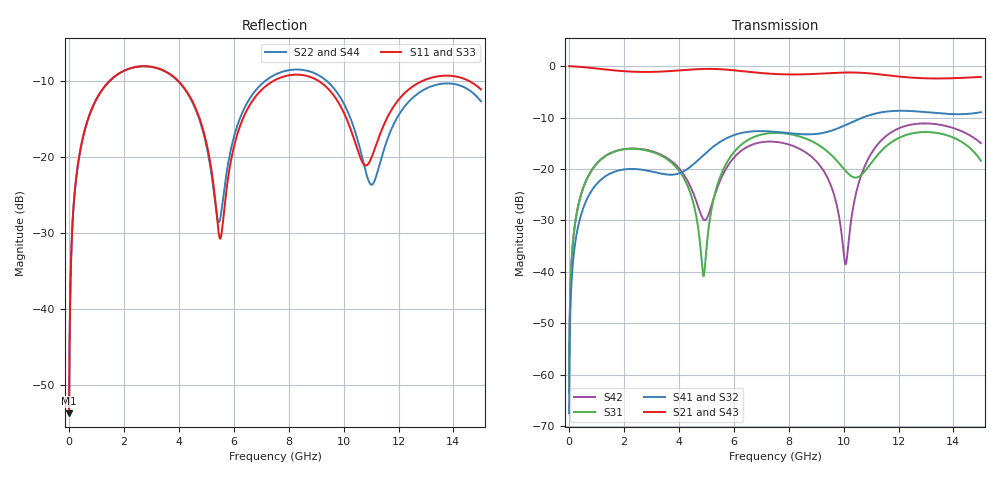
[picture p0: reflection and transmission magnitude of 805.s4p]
! Created with skrf 1.8.0 (http://scikit-rf.org).
# GHz S RI R 50.0
!freq ReS11 ImS11 ReS12 ImS12 ReS13 ImS13
! ReS14 ImS14
! ReS21 ImS21 ReS22 ImS22 ReS23 ImS23
! ReS24 ImS24
! ReS31 ImS31 ReS32 ImS32 ReS33 ImS33
! ReS34 ImS34
! ReS41 ImS41 ReS42 ImS42 ReS43 ImS43
! ReS44 ImS44
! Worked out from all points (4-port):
!   2499 points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, 5 MHz to 15 GHz, reference 50 ohm
!   strongest paths, dB at 5 MHz, 3.476 GHz, 7.19 GHz, 11.1 GHz, 15 GHz:
!     S21: 0.0, -1.0, -1.4, -1.5, -2.1
!     S43: 0.0, -1.0, -1.4, -1.5, -2.1
!     S41: -67.5, -21.0, -12.7, -9.3, -9.0
!     S32: -67.5, -21.0, -12.7, -9.3, -9.0
!     S31: -63.5, -17.8, -13.1, -18.2, -18.4
!     S42: -63.5, -17.6, -14.7, -16.2, -15.0
!   lowest |S11| = -53.7 dB at 5 MHz (marker M1), VSWR 1.00, Z = 50.2 + j0.125 ohm
!   |S11| at or under -10 dB: start of sweep to 1.495 GHz; 3.963 GHz to 7.471 GHz (3.507 GHz wide, 61.3 % of centre); 9.066 GHz to 12.9 GHz (3.839 GHz wide, 34.9 % of centre)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
0.005  0.00164 0.00124  0.9983 -0.00319  8.28e-05 0.000664  -8.03e-05 -0.000414
       0.9983 -0.00319  0.00164 0.00124  -8.03e-05 -0.000414  8.28e-05 0.000664
       8.28e-05 0.000664  -8.03e-05 -0.000414  0.00164 0.00124  0.9983 -0.00319
       -8.03e-05 -0.000414  8.28e-05 0.000664  0.9983 -0.00319  0.00164 0.00124
0.3126303  0.024 0.0818  0.9672 -0.1984  0.0112 0.0394  -0.00932 -0.0243
           0.9672 -0.1984  0.024 0.0818  -0.00932 -0.0243  0.0113 0.0394
           0.0112 0.0394  -0.00932 -0.0243  0.024 0.0818  0.9672 -0.1984
           -0.00932 -0.0243  0.0113 0.0394  0.9672 -0.1984  0.024 0.0818
1.519383  0.2634 0.1804  0.5638 -0.7209  0.1265 0.0655  -0.0904 -0.00863
          0.5638 -0.7209  0.2631 0.1806  -0.0903 -0.00869  0.128 0.0635
          0.1265 0.0655  -0.0903 -0.00869  0.2634 0.1804  0.5638 -0.7208
          -0.0904 -0.00863  0.128 0.0635  0.5638 -0.7208  0.263 0.1806
4.899091  0.0713 -0.1285  -0.8565 -0.382  0.009 0.00125  -0.0511 0.1266
          -0.8565 -0.382  0.0751 -0.1205  -0.0516 0.1264  -0.0285 -0.0151
          0.009 0.00125  -0.0516 0.1264  0.0723 -0.1277  -0.8566 -0.3821
          -0.0511 0.1266  -0.0285 -0.0151  -0.8566 -0.3821  0.0738 -0.1205
8.553564  0.3412 -0.0296  0.0245 0.8315  0.1466 -0.1369  0.2049 -0.0724
          0.0245 0.8315  0.3647 -0.0652  0.2044 -0.0697  0.1442 -0.0369
          0.1466 -0.1369  0.2044 -0.0697  0.3427 -0.0341  0.0241 0.8312
          0.2049 -0.0724  0.1442 -0.0369  0.0241 0.8312  0.3655 -0.0608
10.07295  0.1464 -0.1107  0.6657 0.5544  -0.0637 -0.0718  0.1628 -0.2122
          0.6657 0.5544  0.14 -0.1589  0.1659 -0.2098  0.011 0.00436
          -0.0637 -0.0718  0.1659 -0.2098  0.145 -0.1152  0.6646 0.5551
          0.1628 -0.2122  0.011 0.00436  0.6646 0.5551  0.1443 -0.1581
15  0.2386 -0.1402  -0.3258 -0.7133  0.0872 -0.0827  -0.3006 0.1919
    -0.3258 -0.7133  0.1966 -0.121  -0.3033 0.1846  0.0424 -0.1733
    0.0872 -0.0827  -0.3033 0.1846  0.231 -0.1464  -0.3259 -0.7149
    -0.3006 0.1919  0.0424 -0.1733  -0.3259 -0.7149  0.1955 -0.1095
